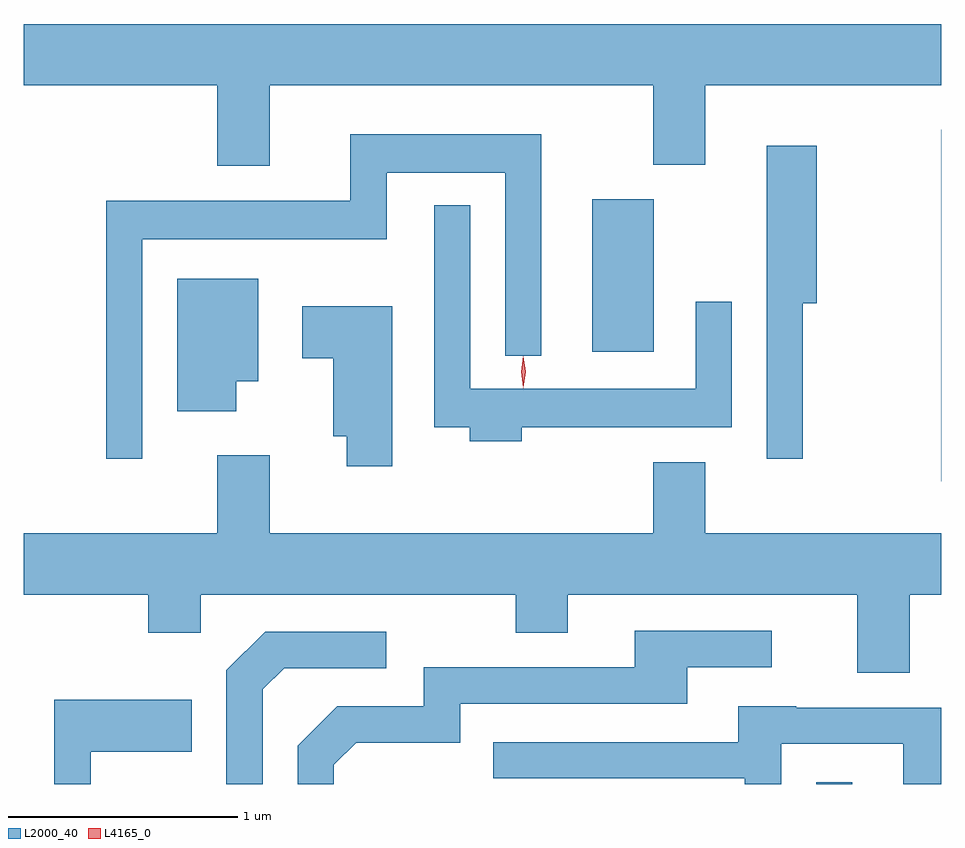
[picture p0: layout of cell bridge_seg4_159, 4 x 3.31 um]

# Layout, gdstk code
import gdstk
lib = gdstk.Library(unit=1e-6, precision=1e-09)
def R(c, l, rs):  # rectangles x0, y0, x1, y1
    for r in rs: c.add(gdstk.rectangle(r[:2], r[2:], *l))
def P(c, l, *ps):  # polygons
    for p in ps: c.add(gdstk.Polygon(p, *l))
L2000_40 = (2000, 40)
L4165_0 = (4165, 0)

bridge_seg4_159 = lib.new_cell('bridge_seg4_159')
R(bridge_seg4_159, L2000_40, [(871.501,1262.831,871.659,1262.838), (872.046,1264.151,872.047,1265.684), (870.526,1264.716,870.794,1265.379)])
P(bridge_seg4_159, L2000_40, [(869.119,1265.876),(870.791,1265.876),(870.791,1265.531),(871.019,1265.531),(871.019,1265.876),(872.047,1265.876),(872.047,1266.144),(868.047,1266.144),(868.047,1265.876),(868.891,1265.876),(868.891,1265.526),(869.119,1265.526)],
  [(868.564,1265.206),(869.629,1265.206),(869.629,1265.496),(870.146,1265.496),(870.146,1264.698),(870.304,1264.698),(870.304,1265.664),(869.471,1265.664),(869.471,1265.374),(868.406,1265.374),(868.406,1264.248),(868.564,1264.248)],
  [(871.444,1264.926),(871.504,1264.926),(871.504,1265.614),(871.286,1265.614),(871.286,1264.248),(871.444,1264.248)],
  [(870.219,1264.386),(871.134,1264.386),(871.134,1264.933),(870.976,1264.933),(870.976,1264.554),(869.994,1264.554),(869.994,1265.353),(869.836,1265.353),(869.836,1264.386),(869.991,1264.386),(869.991,1264.326),(870.219,1264.326)],
  [(868.974,1264.586),(869.069,1264.586),(869.069,1265.034),(868.716,1265.034),(868.716,1264.456),(868.974,1264.456)],
  [(869.654,1264.914),(869.261,1264.914),(869.261,1264.686),(869.396,1264.686),(869.396,1264.346),(869.456,1264.346),(869.456,1264.216),(869.654,1264.216)],
  [(871.909,1263.656),(872.047,1263.656),(872.047,1263.924),(871.019,1263.924),(871.019,1264.234),(870.791,1264.234),(870.791,1263.924),(869.119,1263.924),(869.119,1264.264),(868.891,1264.264),(868.891,1263.924),(868.047,1263.924),(868.047,1263.656),(868.591,1263.656),(868.591,1263.491),(868.819,1263.491),(868.819,1263.656),(870.191,1263.656),(870.191,1263.491),(870.419,1263.491),(870.419,1263.656),(871.681,1263.656),(871.681,1263.316),(871.909,1263.316)],
  [(869.399,1262.914),(869.497,1263.011),(869.949,1263.011),(869.949,1263.181),(870.939,1263.181),(870.939,1263.341),(871.308,1263.341),(871.308,1263.499),(870.711,1263.499),(870.711,1263.339),(869.791,1263.339),(869.791,1263.169),(869.414,1263.169),(869.241,1262.997),(869.241,1262.831),(869.399,1262.831)],
  [(869.089,1263.244),(869.182,1263.336),(869.628,1263.336),(869.628,1263.494),(869.099,1263.494),(868.931,1263.327),(868.931,1262.831),(869.089,1262.831)],
  [(868.339,1262.971),(868.779,1262.971),(868.779,1263.199),(868.181,1263.199),(868.181,1262.831),(868.339,1262.831)],
  [(871.349,1263.006),(871.881,1263.006),(871.881,1262.831),(872.047,1262.831),(872.047,1263.164),(871.415,1263.164),(871.415,1263.169),(871.161,1263.169),(871.161,1263.014),(870.093,1263.014),(870.093,1262.856),(871.191,1262.856),(871.191,1262.831),(871.349,1262.831)])
P(bridge_seg4_159, L4165_0, [(870.225,1264.557),(870.224,1264.558),(870.215,1264.627),(870.224,1264.696),(870.225,1264.696),(870.225,1264.696),(870.235,1264.627),(870.225,1264.558)])

lib.write_gds('bridge_seg4_159.gds')
